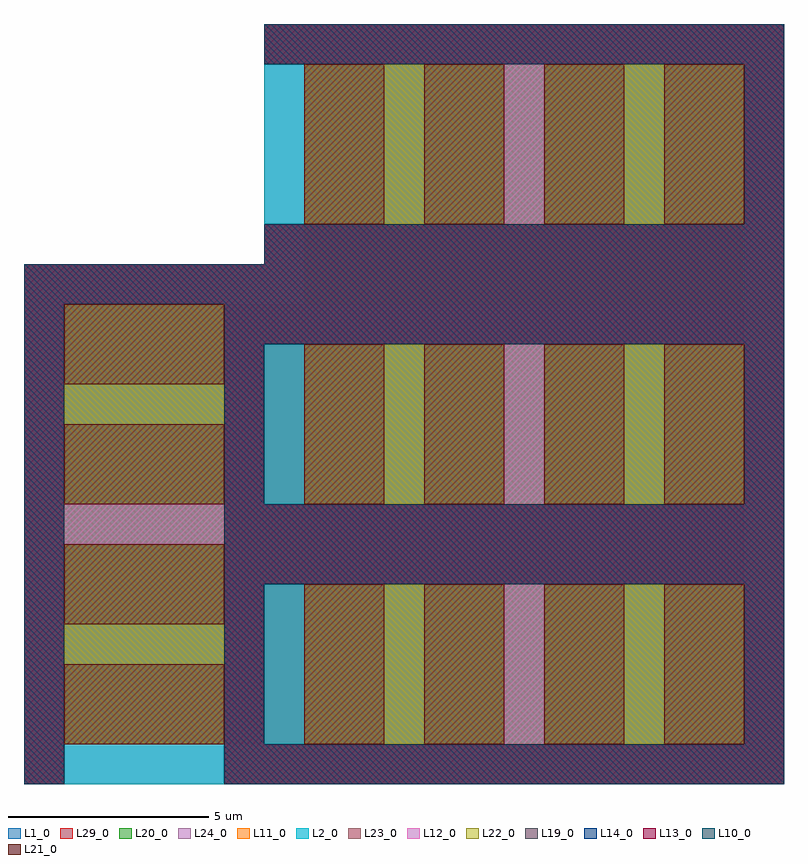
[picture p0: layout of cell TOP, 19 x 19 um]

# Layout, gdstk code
from math import pi, radians
import gdstk
lib = gdstk.Library(unit=1e-6, precision=1e-09)
def R(c, l, rs):  # rectangles x0, y0, x1, y1
    for r in rs: c.add(gdstk.rectangle(r[:2], r[2:], *l))
def P(c, l, *ps):  # polygons
    for p in ps: c.add(gdstk.Polygon(p, *l))
L1_0 = (1, 0)
L2_0 = (2, 0)
L10_0 = (10, 0)
L11_0 = (11, 0)
L12_0 = (12, 0)
L13_0 = (13, 0)
L14_0 = (14, 0)
L19_0 = (19, 0)
L20_0 = (20, 0)
L21_0 = (21, 0)
L22_0 = (22, 0)
L23_0 = (23, 0)
L24_0 = (24, 0)
L29_0 = (29, 0)

c_a = lib.new_cell('A')
R(c_a, L1_0, [(0,0,4,6)])
R(c_a, L2_0, [(0,1,3,5)])
R(c_a, L10_0, [(0,0,4,1), (0,5,4,6)])
P(c_a, L11_0, [(0,0),(0,1),(3,1),(3,5),(0,5),(0,6),(4,6),(4,0)])
R(c_a, L12_0, [(0,0,4,1), (0,5,4,6)])
R(c_a, L13_0, [(0,0,4,1), (0,5,4,6)])
R(c_a, L14_0, [(0,0,4,1), (0,5,4,6)])
R(c_a, L19_0, [(0,0,4,1), (0,5,4,6)])
R(c_a, L21_0, [(1,1,3,5)])

c_b = lib.new_cell('B')
R(c_b, L12_0, [(6,1,7,5)])
R(c_b, L22_0, [(1,1,6,5)])
c_b.add(gdstk.Reference(c_a, (0,0)))
c_b.add(gdstk.Reference(c_a, (3,0)))

c_c = lib.new_cell('C')
R(c_c, L10_0, [(12,1,13,5)])
R(c_c, L13_0, [(12,1,13,5)])
R(c_c, L14_0, [(12,1,13,5)])
R(c_c, L19_0, [(12,1,13,5)])
R(c_c, L23_0, [(1,1,12,5)])
c_c.add(gdstk.Reference(c_b, (0,0)))
c_c.add(gdstk.Reference(c_b, (6,0)))

c_d = lib.new_cell('D')
R(c_d, L1_0, [(0,12,13,13)])
R(c_d, L10_0, [(0,12,13,13)])
R(c_d, L11_0, [(0,12,13,13)])
R(c_d, L12_0, [(0,12,13,13)])
R(c_d, L13_0, [(0,12,13,13)])
R(c_d, L14_0, [(0,12,13,13)])
R(c_d, L19_0, [(0,12,13,13)])
R(c_d, L24_0, [(-5,1,12,12)])
c_d.add(gdstk.Reference(c_c, (0,0)))
c_d.add(gdstk.Reference(c_c, (0,6)))
c_d.add(gdstk.Reference(c_c, (0,0), rotation=pi/2))

top = lib.new_cell('TOP')
P(top, L20_0, [(-5,1),(-5,12),(1,12),(1,18),(12,18),(12,1)])
R(top, L24_0, [(1,14,12,18)])
P(top, L29_0, [(-5,1),(-5,12),(1,12),(1,18),(12,18),(12,1)])
top.add(gdstk.Reference(c_d, (0,0)))
top.add(gdstk.Reference(c_c, (0,13)))

lib.write_gds('TOP.gds')
